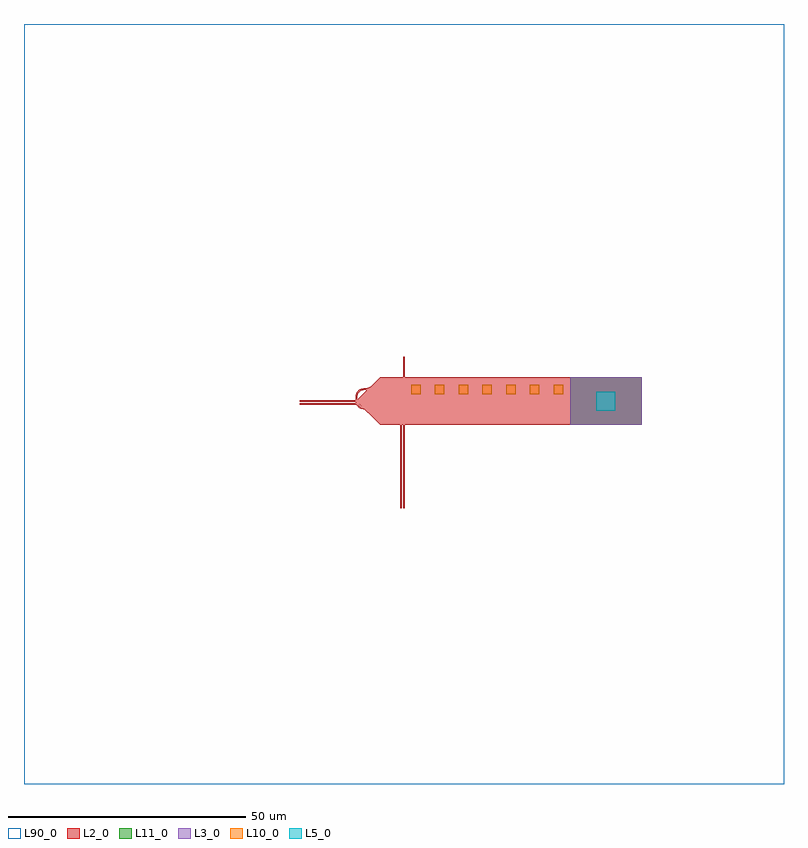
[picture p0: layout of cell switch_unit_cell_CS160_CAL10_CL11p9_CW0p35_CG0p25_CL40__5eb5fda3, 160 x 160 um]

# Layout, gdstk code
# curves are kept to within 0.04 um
from math import pi, radians
import gdstk
lib = gdstk.Library(unit=1e-6, precision=1e-09)
def R(c, l, rs):  # rectangles x0, y0, x1, y1
    for r in rs: c.add(gdstk.rectangle(r[:2], r[2:], *l))
def P(c, l, *ps):  # polygons
    for p in ps: c.add(gdstk.Polygon(p, *l))
L2_0 = (2, 0)
L3_0 = (3, 0)
L5_0 = (5, 0)
L10_0 = (10, 0)
L11_0 = (11, 0)
L90_0 = (90, 0)

waveguide_crossing_w0p35 = lib.new_cell('waveguide_crossing_W0p35_AL10')
R(waveguide_crossing_w0p35, L2_0, [(-0.175,-10,0.175,10), (-10,-0.175,10,0.175)])

movable_directional_coup = lib.new_cell('movable_directional_coupler_W0p35_G0p25_L11p9')
R(movable_directional_coup, L2_0, [(0,0,11.9,0.35), (0,0.6,11.9,0.95)])

width_taper_w0p35_w10_l5 = lib.new_cell('width_taper_W0p35_W10_L5')
P(width_taper_w0p35_w10_l5, L2_0, [(5,-5),(0,-0.175),(0,0.175),(5,5)])

etch_hole_unit_s2 = lib.new_cell('etch_hole_unit_S2')
R(etch_hole_unit_s2, L10_0, [(0,0,2,2)])

mems_cantilever_l40_w10_ = lib.new_cell('mems_cantilever_L40_W10_EHS2_EHP5_EHM1p5')
R(mems_cantilever_l40_w10_, L2_0, [(0,0,40,10)])
r = gdstk.Reference(etch_hole_unit_s2, (1.5,1.5)); r.repetition = gdstk.Repetition(7, 1, v1=(5,0), v2=(0,0)); mems_cantilever_l40_w10_.add(r)

anchor_structure_w10_l15 = lib.new_cell('anchor_structure_W10_L15')
R(anchor_structure_w10_l15, L2_0, [(0,0,15,10)])
R(anchor_structure_w10_l15, L11_0, [(0,0,15,10)])

metal_actuator_pad_w10_l = lib.new_cell('metal_actuator_pad_W10_L15_CTS4')
R(metal_actuator_pad_w10_l, L3_0, [(0,0,15,10)])
R(metal_actuator_pad_w10_l, L5_0, [(5.5,3,9.5,7)])

width_taper_w0p35_w2p5_l = lib.new_cell('width_taper_W0p35_W2p5_L3')
P(width_taper_w0p35_w2p5_l, L2_0, [(3,-1.25),(0,-0.175),(0,0.175),(3,1.25)])

bend_euler_gdsfactorypco = lib.new_cell('bend_euler_gdsfactorypcomponentspbendspbend_euler_R2_A9_78b2d6ac')
P(bend_euler_gdsfactorypco, L2_0, [(0,-0.175),(0,0.175),(0.87,0.252),(1.198,0.394),(1.426,0.574),(1.606,0.802),(1.748,1.13),(1.825,2),(2.175,2),(2.156,1.429),(2.085,1.035),(1.905,0.619),(1.674,0.326),(1.381,0.095),(0.965,-0.085),(0.571,-0.156)])

straight_gdsfactorypcomp = lib.new_cell('straight_gdsfactorypcomponentspwaveguidespstraight_L7p1_d5b5a395')
R(straight_gdsfactorypcomp, L2_0, [(0,-0.175,7.1,0.175)])

c_straight_gdsfactorypcomp = lib.new_cell('straight_gdsfactorypcomponentspwaveguidespstraight_L5p4_cdca6727')
R(c_straight_gdsfactorypcomp, L2_0, [(0,-0.175,5.4,0.175)])

switch_unit_cell_cs160_c = lib.new_cell('switch_unit_cell_CS160_CAL10_CL11p9_CW0p35_CG0p25_CL40__5eb5fda3')
R(switch_unit_cell_cs160_c, L90_0, [(0,0,160,160)])
switch_unit_cell_cs160_c.add(gdstk.Reference(waveguide_crossing_w0p35, (80,80)))
switch_unit_cell_cs160_c.add(gdstk.Reference(movable_directional_coup, (58.1,79.825)))
switch_unit_cell_cs160_c.add(gdstk.Reference(width_taper_w0p35_w10_l5, (70,80.6)))
switch_unit_cell_cs160_c.add(gdstk.Reference(mems_cantilever_l40_w10_, (115,85.6), rotation=pi))
switch_unit_cell_cs160_c.add(gdstk.Reference(anchor_structure_w10_l15, (130,85.6), rotation=pi))
switch_unit_cell_cs160_c.add(gdstk.Reference(metal_actuator_pad_w10_l, (115,75.6)))
switch_unit_cell_cs160_c.add(gdstk.Reference(movable_directional_coup, (80.175,58.1), rotation=pi/2))
switch_unit_cell_cs160_c.add(gdstk.Reference(width_taper_w0p35_w2p5_l, (72,83.1)))
switch_unit_cell_cs160_c.add(gdstk.Reference(bend_euler_gdsfactorypco, (77.4,79.1), x_reflection=True))
switch_unit_cell_cs160_c.add(gdstk.Reference(straight_gdsfactorypcomp, (79.4,70), rotation=pi/2))
switch_unit_cell_cs160_c.add(gdstk.Reference(bend_euler_gdsfactorypco, (70,81.1), rotation=3*pi/2))
switch_unit_cell_cs160_c.add(gdstk.Reference(c_straight_gdsfactorypcomp, (77.4,79.1), rotation=pi))
switch_unit_cell_cs160_c.add(gdstk.Reference(bend_euler_gdsfactorypco, (72,83.1), rotation=pi))

lib.write_gds('switch_unit_cell_CS160_CAL10_CL11p9_CW0p35_CG0p25_CL40__5eb5fda3.gds')
